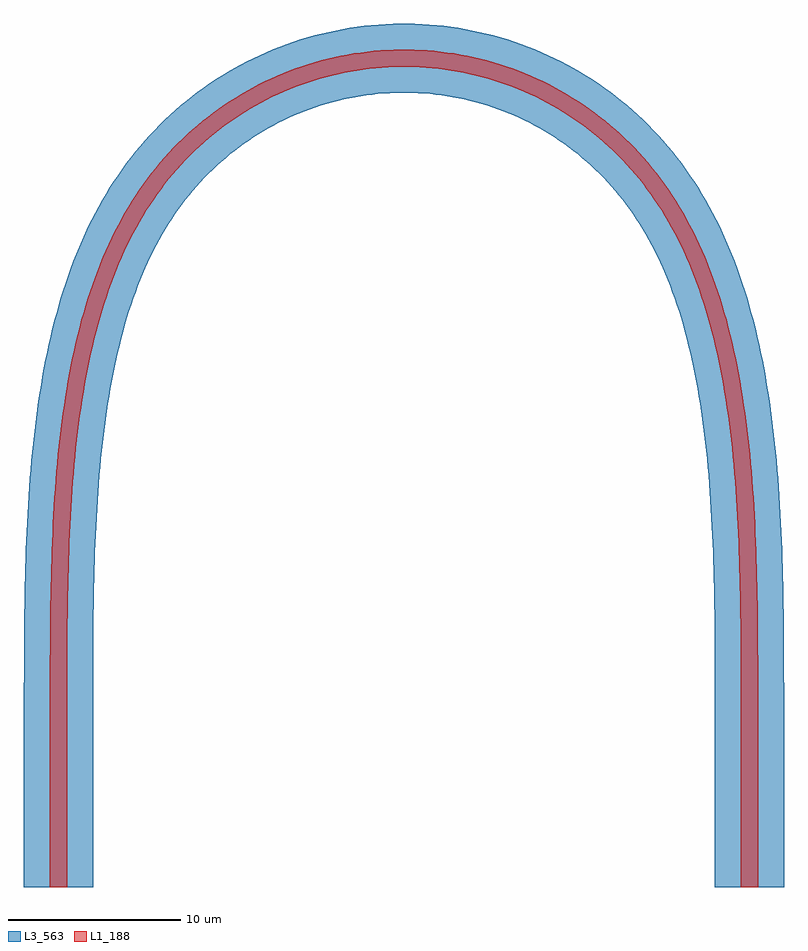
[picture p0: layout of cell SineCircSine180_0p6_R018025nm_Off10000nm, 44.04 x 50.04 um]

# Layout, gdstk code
import gdstk
lib = gdstk.Library(unit=1e-6, precision=1e-09)
L1_188 = (1, 188)
L3_563 = (3, 563)

sinecircsine180_0p6_r018 = lib.new_cell('SineCircSine180_0p6_R018025nm_Off10000nm')
sinecircsine180_0p6_r018.add(gdstk.FlexPath([(-20.02,-30.02),(-20.02,-20.02),(-20.02,-19.486),(-20.02,-18.953),(-20.02,-18.419),(-20.019,-17.886),(-20.018,-17.353),(-20.016,-16.821),(-20.013,-16.29),(-20.01,-15.759),(-20.006,-15.23),(-20.001,-14.701),(-19.994,-14.174),(-19.987,-13.647),(-19.977,-13.123),(-19.967,-12.599),(-19.955,-12.078),(-19.941,-11.558),(-19.925,-11.04),(-19.907,-10.524),(-19.887,-10.009),(-19.865,-9.498),(-19.841,-8.988),(-19.815,-8.481),(-19.785,-7.976),(-19.754,-7.474),(-19.719,-6.974),(-19.682,-6.477),(-19.642,-5.984),(-19.599,-5.493),(-19.553,-5.005),(-19.504,-4.521),(-19.451,-4.039),(-19.395,-3.562),(-19.335,-3.087),(-19.272,-2.616),(-19.206,-2.149),(-19.135,-1.686),(-19.061,-1.226),(-18.983,-0.77),(-18.901,-0.319),(-18.814,0.129),(-18.724,0.572),(-18.629,1.011),(-18.53,1.446),(-18.427,1.877),(-18.319,2.303),(-18.207,2.725),(-18.09,3.142),(-17.968,3.554),(-17.842,3.961),(-17.711,4.364),(-17.575,4.762),(-17.434,5.155),(-17.289,5.543),(-17.138,5.927),(-16.982,6.305),(-16.821,6.678),(-16.655,7.045),(-16.484,7.408),(-16.307,7.765),(-16.125,8.117),(-15.938,8.464),(-15.746,8.806),(-15.548,9.142),(-15.345,9.472),(-15.136,9.797),(-14.922,10.117),(-14.702,10.431),(-14.477,10.74),(-14.246,11.043),(-14.01,11.341),(-13.768,11.633),(-13.521,11.919),(-13.268,12.2),(-13.009,12.476),(-12.745,12.745),(-12.476,13.009),(-12.2,13.268),(-11.92,13.52),(-11.634,13.767),(-11.343,14.008),(-11.047,14.242),(-10.747,14.47),(-10.441,14.692),(-10.131,14.908),(-9.817,15.117),(-9.498,15.319),(-9.175,15.514),(-8.848,15.703),(-8.517,15.885),(-8.183,16.06),(-7.845,16.228),(-7.503,16.389),(-7.158,16.542),(-6.81,16.688),(-6.459,16.827),(-6.106,16.959),(-5.749,17.083),(-5.39,17.2),(-5.029,17.309),(-4.665,17.41),(-4.299,17.504),(-3.932,17.59),(-3.563,17.669),(-3.192,17.74),(-2.82,17.803),(-2.446,17.858),(-2.072,17.905),(-1.696,17.945),(-1.32,17.976),(-0.943,18),(-0.566,18.016),(-0.189,18.024),(0.189,18.024),(0.566,18.016),(0.943,18),(1.32,17.976),(1.696,17.945),(2.072,17.905),(2.446,17.858),(2.82,17.803),(3.192,17.74),(3.563,17.669),(3.932,17.59),(4.299,17.504),(4.665,17.41),(5.029,17.309),(5.39,17.2),(5.749,17.083),(6.106,16.959),(6.459,16.827),(6.81,16.688),(7.158,16.542),(7.503,16.389),(7.845,16.228),(8.183,16.06),(8.517,15.885),(8.848,15.703),(9.175,15.514),(9.498,15.319),(9.817,15.117),(10.131,14.908),(10.441,14.692),(10.747,14.47),(11.047,14.242),(11.343,14.008),(11.634,13.767),(11.92,13.52),(12.2,13.268),(12.476,13.009),(12.745,12.745),(13.009,12.476),(13.268,12.2),(13.521,11.919),(13.768,11.633),(14.01,11.341),(14.246,11.043),(14.477,10.74),(14.702,10.431),(14.922,10.117),(15.136,9.797),(15.345,9.472),(15.548,9.142),(15.746,8.806),(15.938,8.464),(16.125,8.117),(16.307,7.765),(16.484,7.408),(16.655,7.045),(16.821,6.678),(16.982,6.305),(17.138,5.927),(17.289,5.543),(17.434,5.155),(17.575,4.762),(17.711,4.364),(17.842,3.961),(17.968,3.554),(18.09,3.142),(18.207,2.725),(18.319,2.303),(18.427,1.877),(18.53,1.446),(18.629,1.011),(18.724,0.572),(18.814,0.129),(18.901,-0.319),(18.983,-0.77),(19.061,-1.226),(19.135,-1.686),(19.206,-2.149),(19.272,-2.616),(19.335,-3.087),(19.395,-3.562),(19.451,-4.039),(19.504,-4.521),(19.553,-5.005),(19.599,-5.493),(19.642,-5.984),(19.682,-6.477),(19.719,-6.974),(19.754,-7.474),(19.785,-7.976),(19.815,-8.481),(19.841,-8.988),(19.865,-9.498),(19.887,-10.009),(19.907,-10.524),(19.925,-11.04),(19.941,-11.558),(19.955,-12.078),(19.967,-12.599),(19.977,-13.123),(19.987,-13.647),(19.994,-14.174),(20.001,-14.701),(20.006,-15.23),(20.01,-15.759),(20.013,-16.29),(20.016,-16.821),(20.018,-17.353),(20.019,-17.886),(20.02,-18.419),(20.02,-18.953),(20.02,-19.486),(20.02,-20.02),(20.02,-30.02)], 1, ends="flush", simple_path=True, layer=1, datatype=188))  # L1_188
sinecircsine180_0p6_r018.add(gdstk.FlexPath([(-20.02,-30.02),(-20.02,-20.02),(-20.02,-19.486),(-20.02,-18.953),(-20.02,-18.419),(-20.019,-17.886),(-20.018,-17.353),(-20.016,-16.821),(-20.013,-16.29),(-20.01,-15.759),(-20.006,-15.23),(-20.001,-14.701),(-19.994,-14.174),(-19.987,-13.647),(-19.977,-13.123),(-19.967,-12.599),(-19.955,-12.078),(-19.941,-11.558),(-19.925,-11.04),(-19.907,-10.524),(-19.887,-10.009),(-19.865,-9.498),(-19.841,-8.988),(-19.815,-8.481),(-19.785,-7.976),(-19.754,-7.474),(-19.719,-6.974),(-19.682,-6.477),(-19.642,-5.984),(-19.599,-5.493),(-19.553,-5.005),(-19.504,-4.521),(-19.451,-4.039),(-19.395,-3.562),(-19.335,-3.087),(-19.272,-2.616),(-19.206,-2.149),(-19.135,-1.686),(-19.061,-1.226),(-18.983,-0.77),(-18.901,-0.319),(-18.814,0.129),(-18.724,0.572),(-18.629,1.011),(-18.53,1.446),(-18.427,1.877),(-18.319,2.303),(-18.207,2.725),(-18.09,3.142),(-17.968,3.554),(-17.842,3.961),(-17.711,4.364),(-17.575,4.762),(-17.434,5.155),(-17.289,5.543),(-17.138,5.927),(-16.982,6.305),(-16.821,6.678),(-16.655,7.045),(-16.484,7.408),(-16.307,7.765),(-16.125,8.117),(-15.938,8.464),(-15.746,8.806),(-15.548,9.142),(-15.345,9.472),(-15.136,9.797),(-14.922,10.117),(-14.702,10.431),(-14.477,10.74),(-14.246,11.043),(-14.01,11.341),(-13.768,11.633),(-13.521,11.919),(-13.268,12.2),(-13.009,12.476),(-12.745,12.745),(-12.476,13.009),(-12.2,13.268),(-11.92,13.52),(-11.634,13.767),(-11.343,14.008),(-11.047,14.242),(-10.747,14.47),(-10.441,14.692),(-10.131,14.908),(-9.817,15.117),(-9.498,15.319),(-9.175,15.514),(-8.848,15.703),(-8.517,15.885),(-8.183,16.06),(-7.845,16.228),(-7.503,16.389),(-7.158,16.542),(-6.81,16.688),(-6.459,16.827),(-6.106,16.959),(-5.749,17.083),(-5.39,17.2),(-5.029,17.309),(-4.665,17.41),(-4.299,17.504),(-3.932,17.59),(-3.563,17.669),(-3.192,17.74),(-2.82,17.803),(-2.446,17.858),(-2.072,17.905),(-1.696,17.945),(-1.32,17.976),(-0.943,18),(-0.566,18.016),(-0.189,18.024),(0.189,18.024),(0.566,18.016),(0.943,18),(1.32,17.976),(1.696,17.945),(2.072,17.905),(2.446,17.858),(2.82,17.803),(3.192,17.74),(3.563,17.669),(3.932,17.59),(4.299,17.504),(4.665,17.41),(5.029,17.309),(5.39,17.2),(5.749,17.083),(6.106,16.959),(6.459,16.827),(6.81,16.688),(7.158,16.542),(7.503,16.389),(7.845,16.228),(8.183,16.06),(8.517,15.885),(8.848,15.703),(9.175,15.514),(9.498,15.319),(9.817,15.117),(10.131,14.908),(10.441,14.692),(10.747,14.47),(11.047,14.242),(11.343,14.008),(11.634,13.767),(11.92,13.52),(12.2,13.268),(12.476,13.009),(12.745,12.745),(13.009,12.476),(13.268,12.2),(13.521,11.919),(13.768,11.633),(14.01,11.341),(14.246,11.043),(14.477,10.74),(14.702,10.431),(14.922,10.117),(15.136,9.797),(15.345,9.472),(15.548,9.142),(15.746,8.806),(15.938,8.464),(16.125,8.117),(16.307,7.765),(16.484,7.408),(16.655,7.045),(16.821,6.678),(16.982,6.305),(17.138,5.927),(17.289,5.543),(17.434,5.155),(17.575,4.762),(17.711,4.364),(17.842,3.961),(17.968,3.554),(18.09,3.142),(18.207,2.725),(18.319,2.303),(18.427,1.877),(18.53,1.446),(18.629,1.011),(18.724,0.572),(18.814,0.129),(18.901,-0.319),(18.983,-0.77),(19.061,-1.226),(19.135,-1.686),(19.206,-2.149),(19.272,-2.616),(19.335,-3.087),(19.395,-3.562),(19.451,-4.039),(19.504,-4.521),(19.553,-5.005),(19.599,-5.493),(19.642,-5.984),(19.682,-6.477),(19.719,-6.974),(19.754,-7.474),(19.785,-7.976),(19.815,-8.481),(19.841,-8.988),(19.865,-9.498),(19.887,-10.009),(19.907,-10.524),(19.925,-11.04),(19.941,-11.558),(19.955,-12.078),(19.967,-12.599),(19.977,-13.123),(19.987,-13.647),(19.994,-14.174),(20.001,-14.701),(20.006,-15.23),(20.01,-15.759),(20.013,-16.29),(20.016,-16.821),(20.018,-17.353),(20.019,-17.886),(20.02,-18.419),(20.02,-18.953),(20.02,-19.486),(20.02,-20.02),(20.02,-30.02)], 4, ends="flush", simple_path=True, layer=3, datatype=563))  # L3_563

lib.write_gds('SineCircSine180_0p6_R018025nm_Off10000nm.gds')
